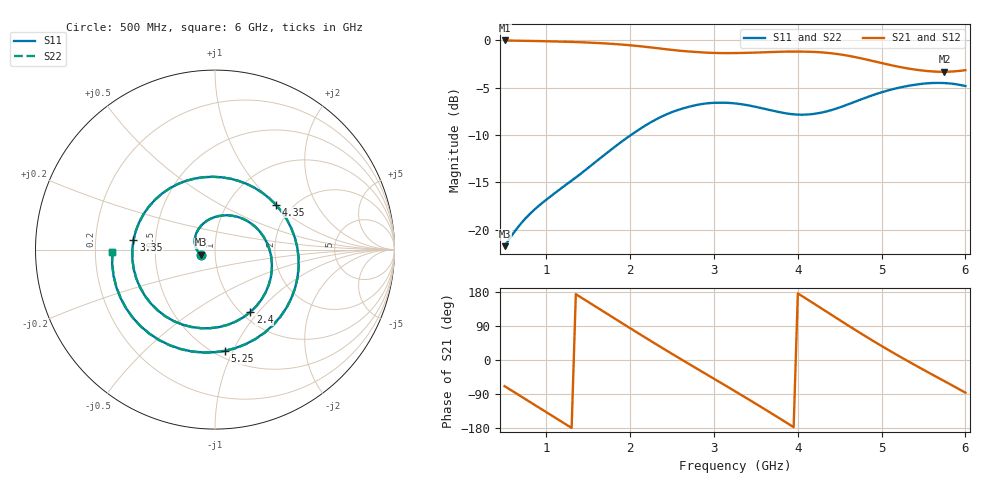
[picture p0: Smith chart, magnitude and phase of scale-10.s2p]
! Touchstone file from project sampleWidthScale-10
! Exported from HFSS-IE 2014.0.2
! Variables:
!  $perm = 6
!  impedance = 157.9ohm
!  insulationThickness = 0in
!  length = 4in
!  portSize = 1mm
!  sampleSide = 1.25in
!  sampleThickness = 0.25in
!  scale = 10
!  spacing = 0.25in
!  wireDiam = 0.125in
!  wireRadius = 0.0625in
# GHZ S MA R 157.900000
! Terminal data exported
! Port[1] = Rectangle2_T1
! Port[2] = Rectangle2_T2
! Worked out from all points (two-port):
!   111 points, 500 MHz to 6 GHz, reference 157.9 ohm
!   highest |S21| = -0.04 dB at 500 MHz (marker M1); lowest = -3.3 dB at 5.75 GHz (marker M2)
!   |S21| within 3 dB of the highest: start of sweep to 5.345 GHz
!   lowest |S11| = -21.7 dB at 500 MHz (marker M3), VSWR 1.18, Z = 135 - j7.84 ohm
!   |S11| at or under -10 dB: start of sweep to 2.01 GHz
!   |S22| runs from -21.7 to -4.5 dB; largest |S21 - S12| = 1.7e-14
!   S11 on the Smith chart (normalised r, x): 500 MHz: 0.86, -0.05; 2.4 GHz: 1.10, -0.91; 3.35 GHz: 0.37, +0.05; 4.35 GHz: 1.64, +1.00; 5.25 GHz: 0.56, -0.93; 6 GHz: 0.27, -0.01
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0.5  0.08186 -159.4  0.9959 -69.0  0.9959 -69.0  0.0819 -159.3
0.75  0.1148 166.0  0.9913 -103.5  0.9913 -103.5  0.1147 166.1
1.05  0.15 124.8  0.9847 -144.8  0.9847 -144.8  0.15 124.8
1.25  0.1749 97.1  0.9798 -172.4  0.9798 -172.4  0.1748 97.2
1.45  0.204 69.6  0.9727 159.8  0.9727 159.8  0.2037 69.6
1.7  0.2498 35.0  0.9606 125.2  0.9606 125.2  0.2496 35.1
1.9  0.2919 7.4  0.9472 97.5  0.9472 97.5  0.2919 7.5
2.1  0.3365 -19.9  0.9297 70.0  0.9297 70.0  0.3366 -19.9
2.35  0.3902 -53.8  0.9035 36.1  0.9035 36.1  0.3901 -53.8
2.4  0.3998 -60.5  0.8981 29.4  0.8981 29.4  0.3997 -60.5
2.8  0.4556 -113.5  0.8648 -23.5  0.8648 -23.5  0.4556 -113.4
3.25  0.4637 -173.1  0.8545 -82.4  0.8545 -82.4  0.4634 -173.1
3.35  0.4575 173.5  0.856 -95.7  0.856 -95.7  0.4572 173.5
3.8  0.4154 112.5  0.8685 -156.5  0.8685 -156.5  0.4154 112.5
4  0.4046 85.2  0.87 175.8  0.87 175.8  0.4048 85.2
4.2  0.4087 57.5  0.8659 147.7  0.8659 147.7  0.4087 57.5
4.35  0.4214 36.6  0.8567 126.5  0.8567 126.5  0.4214 36.6
4.7  0.4764 -12.1  0.811 77.4  0.811 77.4  0.4767 -12.1
5.1  0.5461 -65.4  0.7397 24.0  0.7397 24.0  0.5473 -65.5
5.25  0.5662 -84.4  0.7169 5.0  0.7169 5.0  0.5674 -84.5
5.75  0.5935 -146.6  0.6807 -55.9  0.6807 -55.9  0.5934 -146.6
6  0.5725 -178.4  0.6942 -86.2  0.6942 -86.2  0.5721 -178.4
